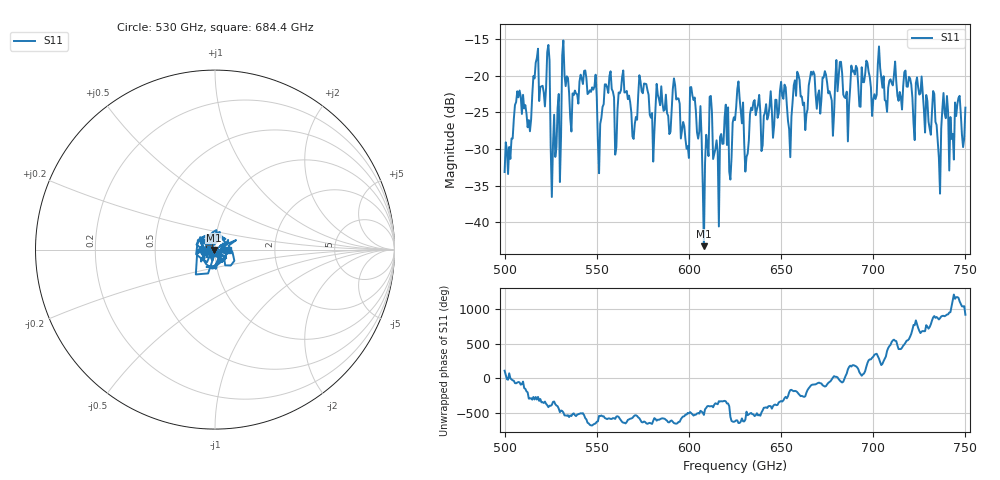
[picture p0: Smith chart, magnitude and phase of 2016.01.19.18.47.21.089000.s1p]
!Created with skrf (http://scikit-rf.org).
# GHz S RI R 50.0
!freq ReS11 ImS11
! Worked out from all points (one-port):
!   401 points, 500 GHz to 750 GHz, reference 50 ohm
!   lowest |S11| = -43.3 dB at 608.1 GHz (marker M1), VSWR 1.01, Z = 49.3 - j0.2 ohm
!   |S11| at or under -10 dB: start of sweep to end of sweep
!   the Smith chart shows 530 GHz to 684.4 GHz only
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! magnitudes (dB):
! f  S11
! 500 GHz  -33.2
! 506.9 GHz  -22.1
! 513.1 GHz  -26.0
! 516.9 GHz  -18.2
! 523.1 GHz  -16.7
! 526.2 GHz  -29.4
! 531.2 GHz  -17.2
! 543.1 GHz  -19.3
! 551.9 GHz  -26.6
! 556.2 GHz  -22.3
! 562.5 GHz  -22.4
! 570.6 GHz  -26.6
! 574.4 GHz  -22.1
! 593.8 GHz  -23.1
! 598.8 GHz  -30.0
! 601.9 GHz  -22.6
! 608.1 GHz  -43.3
! 611.2 GHz  -22.9
! 615 GHz  -28.8
! 625 GHz  -26.0
! 631.2 GHz  -31.1
! 634.4 GHz  -24.7
! 656.2 GHz  -23.6
! 687.5 GHz  -21.6
! 718.8 GHz  -21.5
! 735.6 GHz  -31.2
! 738.8 GHz  -25.1
! 750 GHz  -24.3
